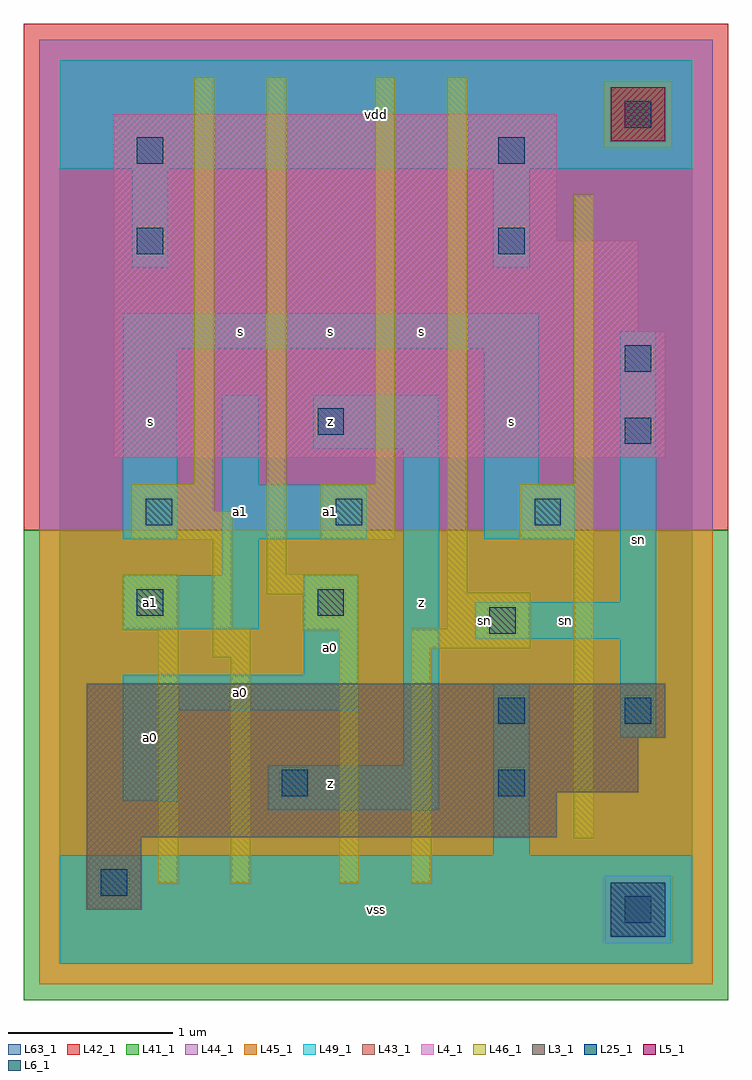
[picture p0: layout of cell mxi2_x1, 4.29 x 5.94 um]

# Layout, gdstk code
import gdstk
lib = gdstk.Library(unit=1e-6, precision=1e-09)
def R(c, l, rs):  # rectangles x0, y0, x1, y1
    for r in rs: c.add(gdstk.rectangle(r[:2], r[2:], *l))
L3_1 = (3, 1)
L4_1 = (4, 1)
L5_1 = (5, 1)
L6_1 = (6, 1)
L25_1 = (25, 1)
L41_1 = (41, 1)
L42_1 = (42, 1)
L43_1 = (43, 1)
L44_1 = (44, 1)
L45_1 = (45, 1)
L46_1 = (46, 1)
L49_1 = (49, 1)
L63_1 = (63, 1)

mxi2_x1 = lib.new_cell('mxi2_x1')
R(mxi2_x1, L3_1, [(0.165,0.33,0.495,0.77), (0.165,0.77,3.025,1.045), (0.165,1.045,3.52,1.375), (0.165,1.375,3.685,1.705)])
R(mxi2_x1, L4_1, [(0.33,3.08,3.685,3.85), (0.33,3.85,3.52,4.4), (0.33,4.4,3.025,5.17)])
R(mxi2_x1, L5_1, [(3.355,5.005,3.685,5.335)])
R(mxi2_x1, L6_1, [(3.355,0.165,3.685,0.495)])
R(mxi2_x1, L25_1, [(3.44,0.25,3.6,0.41), (0.25,0.415,0.41,0.575), (1.35,1.02,1.51,1.18), (2.67,1.02,2.83,1.18), (2.67,1.46,2.83,1.62), (3.44,1.46,3.6,1.62), (2.615,2.01,2.775,2.17), (0.47,2.12,0.63,2.28), (1.57,2.12,1.73,2.28), (0.525,2.67,0.685,2.83), (1.68,2.67,1.84,2.83), (2.89,2.67,3.05,2.83), (3.44,3.165,3.6,3.325), (1.57,3.22,1.73,3.38), (3.44,3.605,3.6,3.765), (0.47,4.32,0.63,4.48), (2.67,4.32,2.83,4.48), (0.47,4.87,0.63,5.03), (2.67,4.87,2.83,5.03), (3.44,5.09,3.6,5.25)])
R(mxi2_x1, L41_1, [(-0.22,-0.22,4.07,2.64)])
R(mxi2_x1, L42_1, [(-0.22,2.64,4.07,5.72)])
R(mxi2_x1, L43_1, [(3.355,0.165,3.685,0.495), (0.165,0.33,0.495,0.77), (0.165,0.77,3.025,1.045), (0.165,1.045,3.52,1.375), (0.165,1.375,3.685,1.705), (0.33,3.08,3.685,3.85), (0.33,3.85,3.52,4.4), (0.33,4.4,3.025,5.17), (3.355,5.005,3.685,5.335)])
R(mxi2_x1, L44_1, [(3.315,0.125,3.725,0.535), (-0.125,2.64,3.975,4.965), (-0.125,4.965,3.315,5.375), (3.725,4.965,3.975,5.375), (-0.125,5.375,3.975,5.625)])
R(mxi2_x1, L45_1, [(-0.125,-0.125,3.975,0.125), (-0.125,0.125,3.315,0.535), (3.725,0.125,3.975,0.535), (-0.125,0.535,3.975,2.64), (3.315,4.965,3.725,5.375)])
R(mxi2_x1, L46_1, [(0.6,0.49,0.72,2.03), (1.04,0.49,1.16,1.865), (1.7,0.49,1.82,2.03), (2.14,0.49,2.26,1.92), (3.13,0.765,3.25,2.58), (0.93,1.865,1.16,2.04), (2.14,1.92,2.865,2.04), (0.38,2.03,0.72,2.37), (1.48,2.03,1.82,2.25), (0.93,2.04,1.05,2.58), (2.36,2.04,2.865,2.26), (1.26,2.25,1.82,2.37), (2.36,2.26,2.48,5.395), (1.26,2.37,1.38,5.395), (0.435,2.58,1.05,2.755), (1.59,2.58,2.04,2.92), (2.8,2.58,3.25,2.92), (0.435,2.755,0.94,2.92), (0.82,2.92,0.94,5.395), (1.92,2.92,2.04,5.395), (3.13,2.92,3.25,4.68)])
R(mxi2_x1, L49_1, [(0,0,3.85,0.66), (2.64,0.66,2.86,1.705), (1.265,0.935,2.31,1.21), (0.385,0.99,0.715,1.54), (2.09,1.21,2.31,3.135), (3.41,1.375,3.63,1.98), (0.385,1.54,1.815,1.76), (1.485,1.76,1.815,2.365), (2.53,1.98,3.63,2.2), (0.385,2.035,1.21,2.365), (3.41,2.2,3.63,3.85), (0.99,2.365,1.21,2.585), (0.385,2.585,0.715,3.74), (0.99,2.585,1.87,2.915), (2.585,2.585,3.135,2.915), (0.99,2.915,1.21,3.465), (2.585,2.915,2.915,3.74), (1.54,3.135,2.31,3.465), (0.385,3.74,2.915,3.96), (0.44,4.235,0.66,4.84), (2.64,4.235,2.86,4.84), (0,4.84,3.85,5.5)])
R(mxi2_x1, L63_1, [(0,0,3.85,5.5)])
mxi2_x1.add(gdstk.Label('sn', (2.585,2.09), layer=46, texttype=1))
mxi2_x1.add(gdstk.Label('a0', (0.55,1.375), layer=49, texttype=1))
mxi2_x1.add(gdstk.Label('a0', (1.1,1.65), layer=49, texttype=1))
mxi2_x1.add(gdstk.Label('a1', (0.55,2.2), layer=49, texttype=1))
mxi2_x1.add(gdstk.Label('a1', (1.1,2.75), layer=49, texttype=1))
mxi2_x1.add(gdstk.Label('s', (0.55,3.3), layer=49, texttype=1))
mxi2_x1.add(gdstk.Label('s', (1.1,3.85), layer=49, texttype=1))
mxi2_x1.add(gdstk.Label('vss', (1.925,0.33), layer=49, texttype=1))
mxi2_x1.add(gdstk.Label('z', (1.65,1.1), layer=49, texttype=1))
mxi2_x1.add(gdstk.Label('a0', (1.65,1.925), layer=49, texttype=1))
mxi2_x1.add(gdstk.Label('a1', (1.65,2.75), layer=49, texttype=1))
mxi2_x1.add(gdstk.Label('z', (1.65,3.3), layer=49, texttype=1))
mxi2_x1.add(gdstk.Label('s', (1.65,3.85), layer=49, texttype=1))
mxi2_x1.add(gdstk.Label('vdd', (1.925,5.17), layer=49, texttype=1))
mxi2_x1.add(gdstk.Label('z', (2.2,2.2), layer=49, texttype=1))
mxi2_x1.add(gdstk.Label('s', (2.75,3.3), layer=49, texttype=1))
mxi2_x1.add(gdstk.Label('s', (2.2,3.85), layer=49, texttype=1))
mxi2_x1.add(gdstk.Label('sn', (3.08,2.09), layer=49, texttype=1))
mxi2_x1.add(gdstk.Label('sn', (3.52,2.585), layer=49, texttype=1))

lib.write_gds('mxi2_x1.gds')
